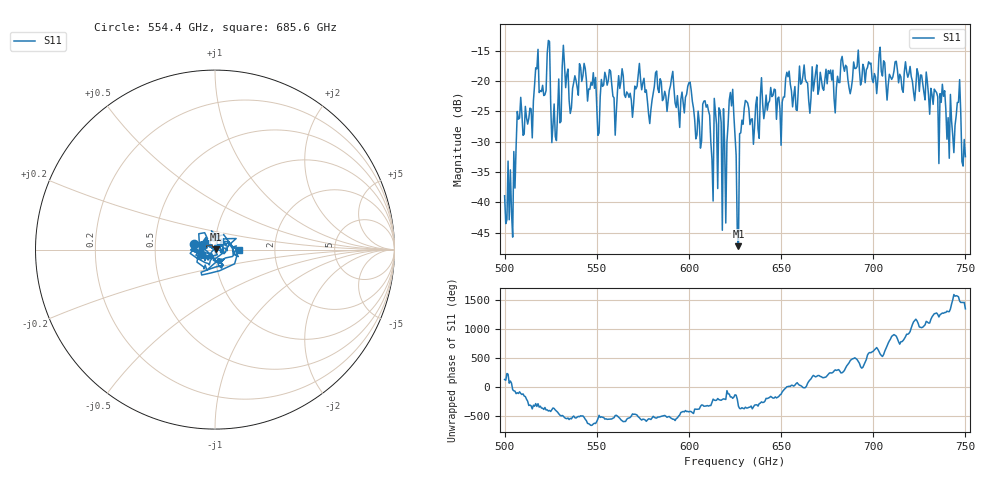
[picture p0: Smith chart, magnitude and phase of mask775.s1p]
!Created with skrf (http://scikit-rf.org).
# GHz S MA R 50.0
!freq magS11 angS11
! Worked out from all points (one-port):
!   401 points, 500 GHz to 750 GHz, reference 50 ohm
!   lowest |S11| = -47.2 dB at 626.9 GHz (marker M1), VSWR 1.01, Z = 50.4 + j0.196 ohm
!   |S11| at or under -10 dB: start of sweep to end of sweep
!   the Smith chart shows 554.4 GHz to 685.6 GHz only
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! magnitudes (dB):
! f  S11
! 500 GHz  -38.9
! 505 GHz  -31.6
! 508.1 GHz  -26.1
! 513.8 GHz  -24.5
! 516.9 GHz  -17.8
! 523.8 GHz  -13.3
! 526.9 GHz  -23.8
! 531.2 GHz  -17.6
! 541.9 GHz  -20.1
! 551.2 GHz  -28.6
! 562.5 GHz  -21.2
! 593.8 GHz  -22.4
! 600 GHz  -20.3
! 605.6 GHz  -26.8
! 609.4 GHz  -24.3
! 611.9 GHz  -30.0
! 619.4 GHz  -30.4
! 623.1 GHz  -24.1
! 625 GHz  -28.8
! 626.9 GHz  -47.2
! 631.2 GHz  -23.4
! 656.2 GHz  -24.3
! 687.5 GHz  -22.1
! 718.8 GHz  -19.4
! 737.5 GHz  -20.5
! 742.5 GHz  -26.6
! 746.2 GHz  -23.5
! 750 GHz  -32.5
